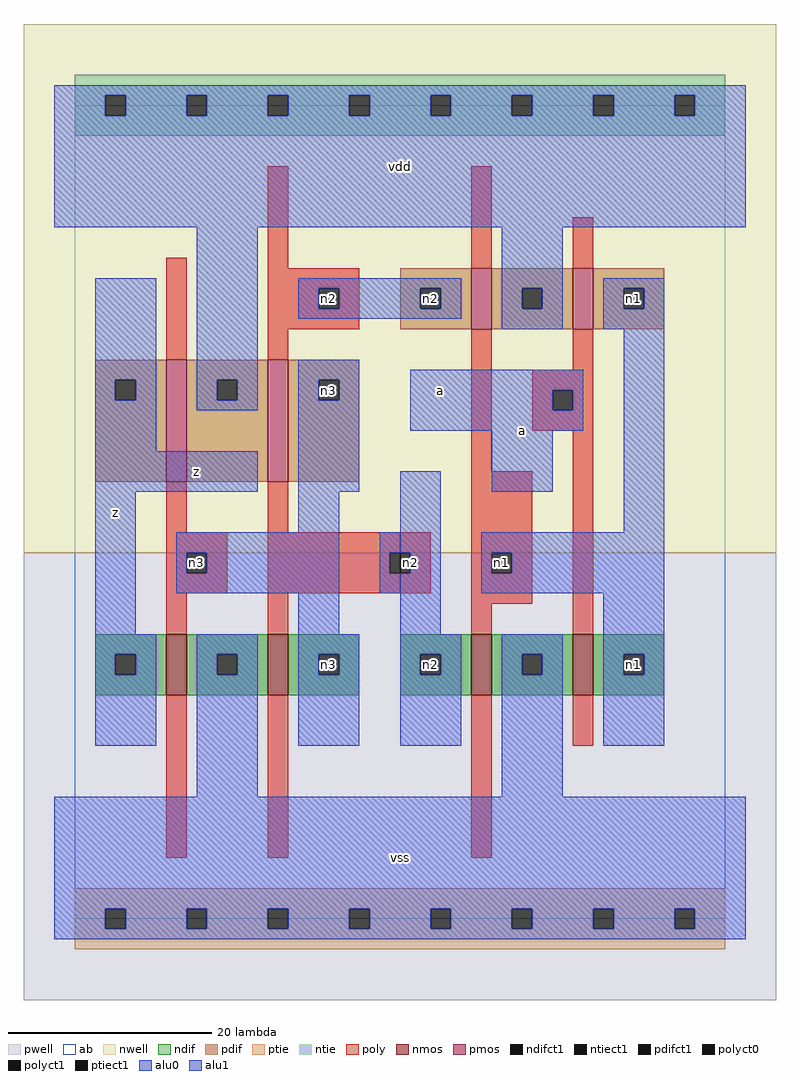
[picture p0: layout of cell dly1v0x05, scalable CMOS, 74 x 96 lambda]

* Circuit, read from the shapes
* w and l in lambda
.subckt dly1v0x05 a n1 n2 n3 vdd vss z
M1 vss n3 z vss nfet w=6 l=2
M2 n3 n2 vss vss nfet w=6 l=2
M3 vss n1 n2 vss nfet w=6 l=2
M4 n1 a vss vss nfet w=6 l=2
M5 vdd n3 z vdd pfet w=12 l=2
M6 n3 n2 vdd vdd pfet w=12 l=2
M7 vdd n1 n2 vdd pfet w=6 l=2
M8 n1 a vdd vdd pfet w=6 l=2
.ends

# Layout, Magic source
magic
tech scmos
<< ab >>
rect 0 0 64 80
<< nwell >>
rect -5 36 69 88
<< pwell >>
rect -5 -8 69 36
<< poly >>
rect 9 55 11 65
rect 19 64 21 74
rect 39 64 41 74
rect 49 64 51 69
rect 19 62 28 64
rect 19 60 24 62
rect 26 60 28 62
rect 19 58 28 60
rect 19 55 21 58
rect 39 44 41 58
rect 49 54 51 58
rect 45 52 51 54
rect 45 50 47 52
rect 49 50 51 52
rect 45 48 51 50
rect 9 38 11 43
rect 19 38 21 43
rect 9 36 15 38
rect 9 34 11 36
rect 13 34 15 36
rect 9 32 15 34
rect 19 36 35 38
rect 19 34 31 36
rect 33 34 35 36
rect 19 32 35 34
rect 39 36 45 44
rect 39 34 41 36
rect 43 34 45 36
rect 9 28 11 32
rect 19 28 21 32
rect 39 31 45 34
rect 39 28 41 31
rect 49 28 51 48
rect 9 6 11 22
rect 19 6 21 22
rect 39 6 41 22
rect 49 17 51 22
<< ndif >>
rect 2 26 9 28
rect 2 24 4 26
rect 6 24 9 26
rect 2 22 9 24
rect 11 26 19 28
rect 11 24 14 26
rect 16 24 19 26
rect 11 22 19 24
rect 21 26 28 28
rect 21 24 24 26
rect 26 24 28 26
rect 21 22 28 24
rect 32 26 39 28
rect 32 24 34 26
rect 36 24 39 26
rect 32 22 39 24
rect 41 26 49 28
rect 41 24 44 26
rect 46 24 49 26
rect 41 22 49 24
rect 51 26 58 28
rect 51 24 54 26
rect 56 24 58 26
rect 51 22 58 24
<< pdif >>
rect 32 62 39 64
rect 32 60 34 62
rect 36 60 39 62
rect 32 58 39 60
rect 41 62 49 64
rect 41 60 44 62
rect 46 60 49 62
rect 41 58 49 60
rect 51 62 58 64
rect 51 60 54 62
rect 56 60 58 62
rect 51 58 58 60
rect 2 53 9 55
rect 2 51 4 53
rect 6 51 9 53
rect 2 43 9 51
rect 11 53 19 55
rect 11 51 14 53
rect 16 51 19 53
rect 11 43 19 51
rect 21 53 28 55
rect 21 51 24 53
rect 26 51 28 53
rect 21 43 28 51
<< alu1 >>
rect -2 81 66 82
rect -2 79 3 81
rect 5 79 11 81
rect 13 79 19 81
rect 21 79 27 81
rect 29 79 35 81
rect 37 79 43 81
rect 45 79 51 81
rect 53 79 59 81
rect 61 79 66 81
rect -2 68 66 79
rect 2 53 8 63
rect 2 51 4 53
rect 6 51 8 53
rect 2 46 8 51
rect 12 53 18 68
rect 22 62 38 63
rect 22 60 24 62
rect 26 60 34 62
rect 36 60 38 62
rect 22 59 38 60
rect 42 62 48 68
rect 42 60 44 62
rect 46 60 48 62
rect 42 58 48 60
rect 52 62 58 63
rect 52 60 54 62
rect 56 60 58 62
rect 52 58 58 60
rect 12 51 14 53
rect 16 51 18 53
rect 12 50 18 51
rect 22 53 28 55
rect 22 51 24 53
rect 26 51 28 53
rect 2 42 18 46
rect 22 42 28 51
rect 33 52 50 54
rect 33 50 47 52
rect 49 50 50 52
rect 33 48 50 50
rect 2 28 6 42
rect 22 38 26 42
rect 10 36 26 38
rect 10 34 11 36
rect 13 34 26 36
rect 10 32 26 34
rect 32 36 36 44
rect 41 42 47 48
rect 54 38 58 58
rect 33 34 36 36
rect 22 28 26 32
rect 32 28 36 34
rect 40 36 58 38
rect 40 34 41 36
rect 43 34 58 36
rect 40 32 58 34
rect 2 26 8 28
rect 2 24 4 26
rect 6 24 8 26
rect 2 17 8 24
rect 12 26 18 28
rect 12 24 14 26
rect 16 24 18 26
rect 12 12 18 24
rect 22 26 28 28
rect 22 24 24 26
rect 26 24 28 26
rect 22 17 28 24
rect 32 26 38 28
rect 32 24 34 26
rect 36 24 38 26
rect 32 17 38 24
rect 42 26 48 28
rect 42 24 44 26
rect 46 24 48 26
rect 42 12 48 24
rect 52 26 58 32
rect 52 24 54 26
rect 56 24 58 26
rect 52 17 58 24
rect -2 1 66 12
rect -2 -1 3 1
rect 5 -1 11 1
rect 13 -1 19 1
rect 21 -1 27 1
rect 29 -1 35 1
rect 37 -1 43 1
rect 45 -1 51 1
rect 53 -1 59 1
rect 61 -1 66 1
rect -2 -2 66 -1
<< ptie >>
rect 0 1 64 3
rect 0 -1 3 1
rect 5 -1 11 1
rect 13 -1 19 1
rect 21 -1 27 1
rect 29 -1 35 1
rect 37 -1 43 1
rect 45 -1 51 1
rect 53 -1 59 1
rect 61 -1 64 1
rect 0 -3 64 -1
<< ntie >>
rect 0 81 64 83
rect 0 79 3 81
rect 5 79 11 81
rect 13 79 19 81
rect 21 79 27 81
rect 29 79 35 81
rect 37 79 43 81
rect 45 79 51 81
rect 53 79 59 81
rect 61 79 64 81
rect 0 77 64 79
<< nmos >>
rect 9 22 11 28
rect 19 22 21 28
rect 39 22 41 28
rect 49 22 51 28
<< pmos >>
rect 39 58 41 64
rect 49 58 51 64
rect 9 43 11 55
rect 19 43 21 55
<< polyct0 >>
rect 31 34 32 36
<< polyct1 >>
rect 24 60 26 62
rect 47 50 49 52
rect 11 34 13 36
rect 32 34 33 36
rect 41 34 43 36
<< ndifct1 >>
rect 4 24 6 26
rect 14 24 16 26
rect 24 24 26 26
rect 34 24 36 26
rect 44 24 46 26
rect 54 24 56 26
<< ntiect1 >>
rect 3 79 5 81
rect 11 79 13 81
rect 19 79 21 81
rect 27 79 29 81
rect 35 79 37 81
rect 43 79 45 81
rect 51 79 53 81
rect 59 79 61 81
<< ptiect1 >>
rect 3 -1 5 1
rect 11 -1 13 1
rect 19 -1 21 1
rect 27 -1 29 1
rect 35 -1 37 1
rect 43 -1 45 1
rect 51 -1 53 1
rect 59 -1 61 1
<< pdifct1 >>
rect 34 60 36 62
rect 44 60 46 62
rect 54 60 56 62
rect 4 51 6 53
rect 14 51 16 53
rect 24 51 26 53
<< alu0 >>
rect 30 36 32 38
rect 30 34 31 36
rect 30 32 32 34
<< labels >>
rlabel polyct1 12 35 12 35 6 n3
rlabel ndifct1 25 25 25 25 6 n3
rlabel pdifct1 25 52 25 52 6 n3
rlabel polyct1 25 61 25 61 6 n2
rlabel alu1 33 35 33 35 6 n2
rlabel ndifct1 35 25 35 25 6 n2
rlabel polyct1 42 35 42 35 6 n1
rlabel pdifct1 35 61 35 61 6 n2
rlabel ndifct1 55 25 55 25 6 n1
rlabel pdifct1 55 61 55 61 6 n1
rlabel alu1 12 44 12 44 6 z
rlabel alu1 4 40 4 40 6 z
rlabel alu1 32 6 32 6 6 vss
rlabel alu1 36 52 36 52 6 a
rlabel alu1 44 48 44 48 6 a
rlabel alu1 32 74 32 74 6 vdd
<< end >>
